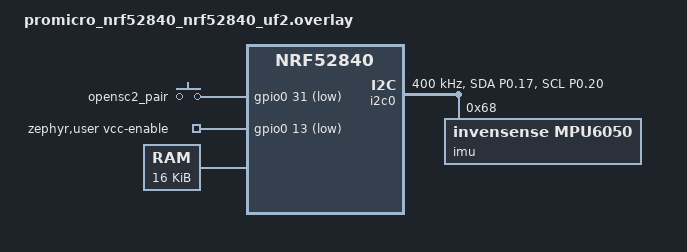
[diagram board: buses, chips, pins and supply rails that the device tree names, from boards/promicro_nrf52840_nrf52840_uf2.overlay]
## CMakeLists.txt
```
# Copyright (c) 2026 the OpenSC2-Controller authors
# SPDX-License-Identifier: MIT
cmake_minimum_required(VERSION 3.20.0)

# The OpenSC2 library is a Zephyr module: the OpenSC2-Controller repository. Inside the repository
# it is found here. In a copy of this folder elsewhere, set ZEPHYR_EXTRA_MODULES to your
# OpenSC2-Controller folder (environment variable, or -DZEPHYR_EXTRA_MODULES=<folder>), or list the
# repository in your west manifest (docs/integration.md).
if(EXISTS ${CMAKE_CURRENT_LIST_DIR}/../../zephyr/module.yml AND
   EXISTS ${CMAKE_CURRENT_LIST_DIR}/../../include/opensc2/opensc2.h)
  list(APPEND ZEPHYR_EXTRA_MODULES ${CMAKE_CURRENT_LIST_DIR}/../..)
endif()

find_package(Zephyr REQUIRED HINTS $ENV{ZEPHYR_BASE})
project(opensc2_imu LANGUAGES C)

target_sources(app PRIVATE src/main.c)
```

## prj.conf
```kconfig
# Copyright (c) 2026 the OpenSC2-Controller authors
# SPDX-License-Identifier: MIT
#
# An MPU-6050 (or another sensor-API IMU) as the controller's IMU, wired or wireless.
# The SuperMini's own lines (its clock) are in boards/promicro_nrf52840_nrf52840_uf2.conf.

# The library, with its IMU fusion helper (the orientation quaternion). The puck sends packets of
# up to 128 bytes; the real controller keeps two replies queued.
CONFIG_OPENSC2=y
CONFIG_OPENSC2_FUSION=y
CONFIG_ESB_MAX_PAYLOAD_LENGTH=128
CONFIG_ESB_TX_FIFO_SIZE=2

# The sensor on I2C, read on request (no interrupt line needed), and the pairing button
# (gpio-keys). The fusion helper works in floating point.
CONFIG_GPIO=y
CONFIG_INPUT=y
CONFIG_I2C=y
CONFIG_SENSOR=y
CONFIG_MPU6050_TRIGGER_NONE=y
CONFIG_FPU=y

# Wired mode (the overlay chooses the HID node). The library runs the USB device, so the board's
# own serial port does not start at boot; in wireless mode the library shows it as the console.
# Eight report buffers, and room on the stacks for the vendor commands that write flash.
CONFIG_CDC_ACM_SERIAL_INITIALIZE_AT_BOOT=n
CONFIG_USBD_HID_IN_BUF_COUNT=8
CONFIG_USBD_THREAD_STACK_SIZE=2048
CONFIG_SYSTEM_WORKQUEUE_STACK_SIZE=2048

# Bonds survive a reboot in Zephyr settings, on NVS in the board's storage partition. Steam's
# pairing over the cable stores the bond and then reboots the board: without these it is lost.
CONFIG_FLASH=y
CONFIG_FLASH_MAP=y
CONFIG_NVS=y
CONFIG_SETTINGS=y
CONFIG_SETTINGS_NVS=y

# Log and shell on the USB serial port in wireless mode ("opensc2 status", "opensc2 state"). The
# shell prints the log, so the plain UART log output is off (it would print every line twice).
# While wired the log goes into the USB session log, and the log thread needs a bigger stack.
CONFIG_LOG=y
CONFIG_LOG_PROCESS_THREAD_STACK_SIZE=1536
CONFIG_SHELL=y
CONFIG_LOG_BACKEND_UART=n
CONFIG_SHELL_PROMPT_UART="opensc2:~$ "
CONFIG_MAIN_STACK_SIZE=2048

# The sensor loop in main() runs below the radio thread (priority 5).
CONFIG_MAIN_THREAD_PRIORITY=7
```

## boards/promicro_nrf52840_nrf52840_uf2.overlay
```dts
/*
 * Copyright (c) 2026 the OpenSC2-Controller authors
 * SPDX-License-Identifier: MIT
 *
 * SuperMini / Pro Micro nRF52840 with an MPU-6050 module (GY-521 breakout) on I2C as the IMU.
 * Any accelerometer and gyroscope with a Zephyr sensor driver works the same way (LSM6DSO,
 * ICM42688, BMI270, ...): replace the node and keep the `imu` label.
 *
 *   P0.17 SDA    P0.20 SCL    VCC, GND    P0.31 pairing button (to GND)
 */
#include <zephyr/dt-bindings/i2c/i2c.h>
#include <dt-bindings/opensc2/inputs.h>

/ {
	opensc2_buttons: opensc2_buttons {
		compatible = "gpio-keys";
		debounce-interval-ms = <5>;
		/* Held while plugging in: this boot is wireless. Pressed and released while wired:
		 * back to wireless mode. Pressed while wireless: answers an open pairing window. */
		opensc2_pair: pair {
			gpios = <&gpio0 31 (GPIO_PULL_UP | GPIO_ACTIVE_LOW)>;
			zephyr,code = <OPENSC2_KEY_PAIR>;
		};
	};

	zephyr,user {
		/* nice!nano-style boards switch VCC with P0.13 (low = on); check yours. */
		vcc-enable-gpios = <&gpio0 13 GPIO_ACTIVE_LOW>;
	};

	/* Wired mode: the USB HID function of the wired Steam Controller 2 (64-byte reports, 1 ms),
	 * and 16 KB of RAM that a soft reset keeps (the warm-restart mark, the USB session log), clear
	 * of the RAM the UF2 bootloader uses at every reset (docs/porting.md). */
	chosen {
		opensc2,usb-hid = &opensc2_hid;
		opensc2,retained-ram = &opensc2_retained;
	};

	opensc2_hid: opensc2_hid {
		compatible = "zephyr,hid-device";
		in-report-size = <64>;
		in-polling-period-us = <1000>;
		out-report-size = <64>;
		out-polling-period-us = <1000>;
	};

	opensc2_retained: memory@2002c000 {
		compatible = "zephyr,memory-region", "mmio-sram";
		reg = <0x2002c000 DT_SIZE_K(16)>;
		zephyr,memory-region = "OPENSC2_RETAINED";
	};
};

/* The application's RAM ends below the retained area (176 KB of the 256). */
&sram0 {
	reg = <0x20000000 DT_SIZE_K(176)>;
};

/* The board's first I2C bus, moved to P0.17 and P0.20. */
&pinctrl {
	i2c0_imu_default: i2c0_imu_default {
		group1 {
			psels = <NRF_PSEL(TWIM_SDA, 0, 17)>, <NRF_PSEL(TWIM_SCL, 0, 20)>;
		};
	};
	i2c0_imu_sleep: i2c0_imu_sleep {
		group1 {
			psels = <NRF_PSEL(TWIM_SDA, 0, 17)>, <NRF_PSEL(TWIM_SCL, 0, 20)>;
			low-power-enable;
		};
	};
};

&i2c0 {
	status = "okay";
	clock-frequency = <I2C_BITRATE_FAST>;
	pinctrl-0 = <&i2c0_imu_default>;
	pinctrl-1 = <&i2c0_imu_sleep>;
	pinctrl-names = "default", "sleep";

	imu: mpu6050@68 {
		compatible = "invensense,mpu6050";
		reg = <0x68>;   /* 0x69 when the module's AD0 pin is high */
		/* The ranges of the controller's report: +-2 g and +-2000 deg/s. */
		accel-fs = <2>;
		gyro-fs = <2000>;
	};
};

/* Not used here: the board's UART. The log and the shell are on the USB serial port. */
&uart0 { status = "disabled"; };
```

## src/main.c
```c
/*
 * Copyright (c) 2026 the OpenSC2-Controller authors
 * SPDX-License-Identifier: MIT
 *
 * An IMU through Zephyr's sensor API, wired or wireless. About 250 times a second: read
 * acceleration (m/s^2) and angular rate (rad/s), convert to report 0x42's units (16384 per g,
 * 32767 = 2000 deg/s), run the library's fusion helper for the orientation quaternion, and hand
 * everything to the library. Steam switches the stream on with controller setting 48, as for the
 * real controller; until then the IMU fields stay at zero. In Steam this feeds gyro controls.
 *
 * Axes: the controller's X points right, Y away from the player, Z up when it lies flat. Mount
 * the sensor that way or swap axes below.
 * There is no power_request callback: the library does the reboots Steam asks for itself, and it
 * ignores Steam's request to enter a bootloader for a firmware update.
 */
#include <zephyr/kernel.h>
#include <zephyr/init.h>
#include <zephyr/drivers/gpio.h>
#include <zephyr/drivers/sensor.h>
#include <zephyr/input/input.h>
#include <zephyr/logging/log.h>
#include <opensc2/opensc2.h>
#include <opensc2/fusion.h>
#include <opensc2/imu.h>

LOG_MODULE_REGISTER(imu_sample, LOG_LEVEL_INF);

static const struct device *const imu = DEVICE_DT_GET(DT_NODELABEL(imu));
static const struct gpio_dt_spec vcc = GPIO_DT_SPEC_GET(DT_PATH(zephyr_user), vcc_enable_gpios);

/* The sensor runs from the board's switched VCC, and its driver talks to it while Zephyr starts,
 * before main(). So VCC goes on first: GPIO is ready by then (PRE_KERNEL_1), and the sensor
 * driver starts later in POST_KERNEL (CONFIG_SENSOR_INIT_PRIORITY, 90). */
static int vcc_on(void)
{
	if (gpio_is_ready_dt(&vcc)) {
		gpio_pin_configure_dt(&vcc, GPIO_OUTPUT_ACTIVE);
		k_msleep(100);   /* the MPU-6050 needs up to 100 ms after power-up */
	}
	return 0;
}
SYS_INIT(vcc_on, POST_KERNEL, 0);

/* ---- The pairing button: the same rules in every sample ------------------------------------- */

static const struct gpio_dt_spec pair_pin = GPIO_DT_SPEC_GET(DT_NODELABEL(opensc2_pair), gpios);
static bool pair_held_at_boot;   /* the press that chose wireless: ignored until it is released */
static bool pair_down;

/* Is the button held while the board starts? gpio-keys has already set the pin up with its
 * pull-up. Read twice, 5 ms apart: a bouncing contact counts as released. */
static bool pair_held(void)
{
	if (!gpio_is_ready_dt(&pair_pin) || gpio_pin_get_dt(&pair_pin) != 1) {
		return false;
	}
	k_msleep(5);
	return gpio_pin_get_dt(&pair_pin) == 1;
}

/* Wired: pressed and released, reboot into wireless mode (on the release, so that the button is
 * up again at the next boot). Wireless: pressed, answer a puck's open pairing window (untested
 * with Steam, which pairs controllers over the cable). */
static void pair_button(bool pressed)
{
	if (pair_held_at_boot) {
		pair_held_at_boot = pressed;   /* released: a normal button from now on */
		return;
	}
	if (opensc2_mode() == OPENSC2_MODE_WIRED) {
		if (pair_down && !pressed) {
			opensc2_reboot_later(OPENSC2_REBOOT_WIRELESS, "pair button", 0);
		}
	} else if (pressed) {
		opensc2_pair_start(0);   /* 0: the default window, 60 s */
	}
	pair_down = pressed;
}

static void on_button(struct input_event *evt, void *user_data)
{
	ARG_UNUSED(user_data);
	if (evt->type == INPUT_EV_KEY && evt->code == OPENSC2_KEY_PAIR) {
		pair_button(evt->value != 0);
	}
}
INPUT_CALLBACK_DEFINE(DEVICE_DT_GET(DT_NODELABEL(opensc2_buttons)), on_button, NULL);

/* ---- The IMU --------------------------------------------------------------------------------- */

int main(void)
{
	struct opensc2_config config = { .start = true };
	struct opensc2_fusion fusion;
	int64_t last;
	int err;

	if (pair_held()) {
		pair_held_at_boot = true;
		config.boot_mode = OPENSC2_BOOT_WIRELESS;   /* held while plugging in: wireless */
	}
	err = opensc2_init(&config);
	if (err) {
		/* The console still starts (in wireless mode), so this can be read there. */
		LOG_ERR("opensc2_init failed (%d)", err);
	}
	if (!device_is_ready(imu)) {
		LOG_ERR("The IMU did not start: check its wiring and its I2C address");
		return 0;   /* the controller goes on without IMU data */
	}

	opensc2_fusion_init(&fusion);
	last = k_uptime_ticks();
	for (;;) {
		struct sensor_value a[3], g[3];
		struct opensc2_imu_sample s = { 0 };
		float accel[3], gyro[3];
		int64_t now;

		k_msleep(4);
		now = k_uptime_ticks();
		if (!opensc2_imu_streaming()) {
			/* A host switched the stream off (setting 48 = 0): the reports keep the last
			 * sample, as the real controller's. */
			last = now;
			continue;
		}
		if (sensor_sample_fetch(imu) != 0 ||
		    sensor_channel_get(imu, SENSOR_CHAN_ACCEL_XYZ, a) != 0 ||
		    sensor_channel_get(imu, SENSOR_CHAN_GYRO_XYZ, g) != 0) {
			continue;
		}
		for (int i = 0; i < 3; i++) {
			s.accel[i] = sensor_value_to_float(&a[i]);    /* m/s^2 */
			s.gyro[i] = sensor_value_to_float(&g[i]);     /* rad/s */
			accel[i] = s.accel[i] / 9.80665f;             /* g, for the fusion helper */
			gyro[i] = s.gyro[i] * 57.29578f;              /* deg/s */
		}

		opensc2_fusion_update(&fusion, accel, gyro,
				      (float)k_ticks_to_us_floor32((uint32_t)(now - last)) / 1e6f);
		last = now;

		/* The library's IMU scales it as the real controller does (32767 = 2 g and
		 * 2000 deg/s), the orientation from the fusion helper. */
		for (int i = 0; i < 4; i++) {
			s.quat[i] = fusion.q[i];
		}
		s.has_quat = true;
		s.timestamp_ns = k_ticks_to_ns_floor64(now);
		(void)opensc2_imu_sample(&s);
	}
	return 0;
}
```
